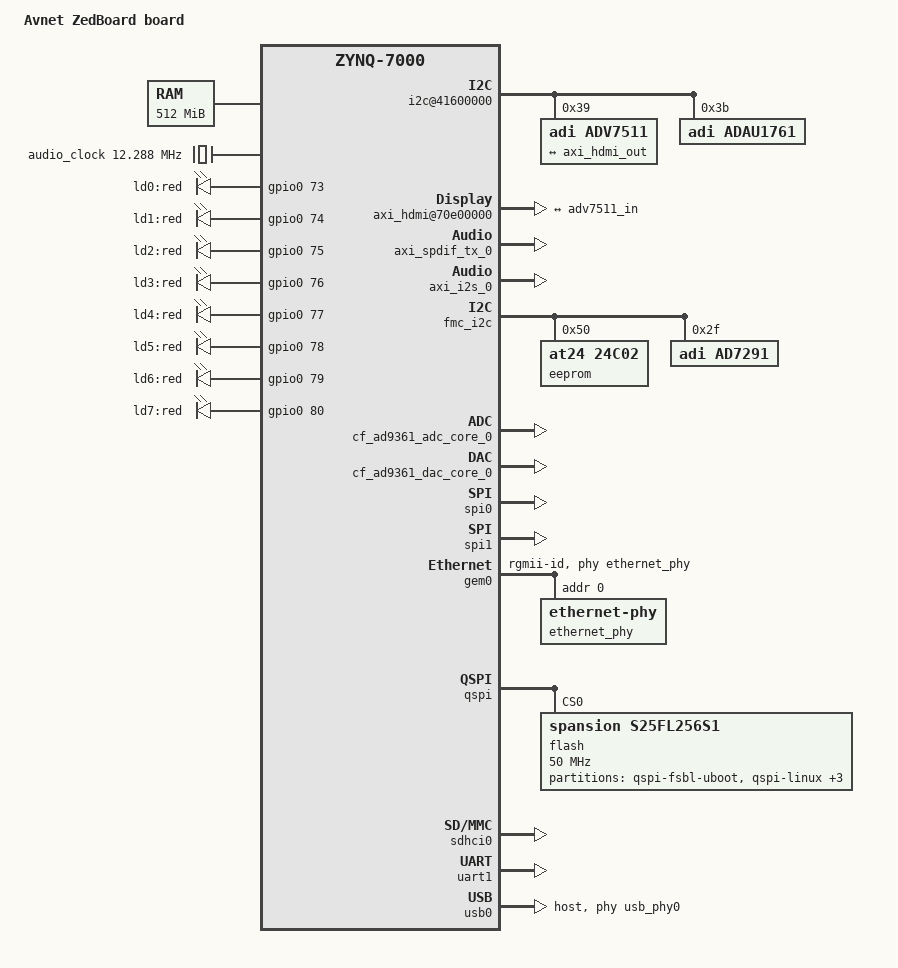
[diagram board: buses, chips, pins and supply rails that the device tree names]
// SPDX-License-Identifier: GPL-2.0+
/*
 *  Copyright (C) 2011 - 2015 Xilinx
 *  Copyright (C) 2012 National Instruments Corp.
 */
/dts-v1/;
#include "zynq-7000.dtsi"
#include "irq.h"

/ {
	model = "Avnet ZedBoard board";
	compatible = "avnet,zynq-zed", "xlnx,zynq-zed", "xlnx,zynq-7000";

	aliases {
		ethernet0 = &gem0;
		serial0 = &uart1;
		spi0 = &qspi;
		mmc0 = &sdhci0;
	};

	memory {
		device_type = "memory";
		reg = <0x0 0x20000000>;
	};

	chosen {
		bootargs = "";
		stdout-path = "serial0:115200n8";
	};

	usb_phy0: phy0@e0002000 {
		compatible = "ulpi-phy";
		#phy-cells = <0>;
		reg = <0xe0002000 0x1000>;
		view-port = <0x0170>;
		drv-vbus;
	};

	// --- 
	fpga-axi@0 {
		compatible = "simple-bus";
		#address-cells = <0x01>;
		#size-cells = <0x01>;
		ranges;
		// -- Verified
		i2c@41600000 {
			compatible = "xlnx,axi-iic-1.01.b\0xlnx,xps-iic-2.00.a";
			reg = <0x41600000 0x10000>;
			interrupt-parent = <&intc>;
			interrupts = <0 58 IRQ_TYPE_LEVEL_HIGH>;
			clocks = <&clkc 15>;
			clock-names = "pclk";

			#size-cells = <0>;
			#address-cells = <1>;
			adv7511: adv7511@39 {
				compatible = "adi,adv7511";
				reg = <0x39>, <0x3f>;
				reg-names = "primary", "edid";

				adi,input-depth = <8>;
				adi,input-colorspace = "yuv422";
				adi,input-clock = "1x";
				adi,input-style = <1>;
				adi,input-justification = "right";
				adi,clock-delay = <0>;

				#sound-dai-cells = <1>;
				ports {
					#address-cells = <1>;
					#size-cells = <0>;

					port@0 {
						reg = <0>;
						adv7511_in: endpoint {
							remote-endpoint = <&axi_hdmi_out>;
						};
					};

					port@1 {
						reg = <1>;
					};
				};
			};

			adau1761: adau1761@3b {
				compatible = "adi,adau1761";
				reg = <0x3b>;

				clocks = <&audio_clock>;
				clock-names = "mclk";

				#sound-dai-cells = <0>;
			};
		};

		// --- Verified
		hdmi_dma: dma@43000000{
			compatible = "adi,axi-dmac-1.00.a";
			reg = <0x43000000 0x1000>;
			#dma-cells = <1>;
			interrupts = <0 59 IRQ_TYPE_LEVEL_HIGH>;
			interrupt-parent = <&intc>;
			clocks = <&clkc 16>;

			adi,channels{
				#size-cells = <0>;
				#address-cells = <1>;

				dma-channel@0 {
					reg = <0>;
					adi,source-bus-width = <64>;
					adi,source-bus-type = <0>;
					adi,destination-bus-width = <64>;
					adi,destination-bus-type = <1>;
				};
			};
		};

		// --- Verified
		hdmi_clock: axi-clkgen@79000000 {
			compatible = "adi,axi-clkgen-2.00.a";
			reg = <0x79000000 0x10000>;
			#clock-cells = <0>;
			clocks = <&clkc 15>, <&clkc 16>;
			clock-names = "s_axi_aclk", "clkin1";
		};

		// --- Verified
		axi_hdmi@70e00000{
			compatible = "adi,axi-hdmi-tx-1.00.a";
			reg = <0x70e00000 0x10000>;
			dmas = <&hdmi_dma 0>;
			dma-names = "video";
			clocks = <&hdmi_clock>;
			port {
				axi_hdmi_out: endpoint {
					remote-endpoint = <&adv7511_in>;
				};
			};
		};
		
		// --- Verified
		axi_spdif_tx_0: axi-spdif-tx@75c00000{
			compatible = "adi,axi-spdif-tx-1.00.a";
			reg = <0x75c00000 0x1000>;
			dmas = <&dmac_s 0>;
			dma-names = "tx";
			clocks = <&clkc 15>, <&audio_clock>;
			clock-names = "axi", "ref";

			#sound-dai-cells = <0>;
		};

		// --- Verified
		axi_i2s_0: axi-i2s@77600000 {
			compatible = "adi,axi-i2s-1.00.a";
			reg = <0x77600000 0x1000>;
			dmas = <&dmac_s 1 &dmac_s 2>;
			dma-names = "tx", "rx";
			clocks = <&clkc 15>, <&audio_clock>;
			clock-names = "axi", "ref";

			#sound-dai-cells = <0>;
		};

		// --- Verified
		axi_sysid_0: axi-sysid-0@45000000 {
			compatible = "adi,axi-sysid-1.00.a";
			reg = <0x45000000 0x10000>;
		};

        // --- Verified
		fmc_i2c: i2c@41620000 {
			compatible = "xlnx,axi-iic-1.01.b\0xlnx,xps-iic-2.00.a";
			reg = <0x41620000 0x10000>;
			interrupt-parent = <&intc>;
			interrupts = <0 55 IRQ_TYPE_LEVEL_HIGH>;
			clocks = <&clkc 15>;
			clock-names = "pclk";
			#size-cells = <0>;
			#address-cells = <1>;

			eeprom@50 {
				compatible = "at24,24c02";
				reg = <0x50>;
			};

			ad7291@2f {
				compatible = "adi,ad7291";
				reg = <0x2f>;
			};
		};

		//--- Verified
		rx_dma: dma@7c400000 {
			compatible = "adi,axi-dmac-1.00.a";
			reg = <0x7c400000 0x1000>;
			#dma-cells = <1>;
			interrupts = <0 57 IRQ_TYPE_LEVEL_HIGH>;
			interrupt-parent = <&intc>;
			clocks = <&clkc 16>;
			

			adi,channels {
				#size-cells = <0>;
				#address-cells = <1>;

				dma-channel@0 {
					reg = <0>;
					adi,source-bus-width = <64>;
					adi,source-bus-type = <2>;
					adi,destination-bus-width = <64>;
					adi,destination-bus-type = <0>;
				};
			};
		};

		//--- Verified
		tx_dma: dma@7c420000 {
			compatible = "adi,axi-dmac-1.00.a";
			reg = <0x7c420000 0x1000>;
			#dma-cells = <1>;
			interrupts = <0 56 IRQ_TYPE_LEVEL_HIGH>;
			interrupt-parent = <&intc>;
			clocks = <&clkc 16>;
			

			adi,channels {
				#size-cells = <0>;
				#address-cells = <1>;

				dma-channel@0 {
					reg = <0>;
					adi,source-bus-width = <64>;
					adi,source-bus-type = <0>;
					adi,destination-bus-width = <64>;
					adi,destination-bus-type = <2>;
				};
			};
		};

		//--- Verified
		cf_ad9361_adc_core_0: cf-ad9361-lpc@79020000 {
			compatible = "adi,axi-ad9361-6.00.a";
			reg = <0x79020000 0x6000>;
			dmas = <&rx_dma 0>;
			dma-names = "rx";
			spibus-connected = <&adc0_ad9361>;
		};

		//--- Verified
		cf_ad9361_dac_core_0: cf-ad9361-dds-core-lpc@79024000 {
			compatible = "adi,axi-ad9361-dds-6.00.a";
			reg = <0x79024000 0x1000>;
			clocks = <&adc0_ad9361 13>;
			clock-names = "sampl_clk";
			dmas = <&tx_dma 0>;
			dma-names = "tx";
		};
	};

	// ---
	adc0_ad9361 {
		en_agc-gpios = <&gpio0 98 0>;
		sync-gpios = <&gpio0 99 0>;
		reset-gpios = <&gpio0 100 0>;
		enable-gpios = <&gpio0 101 0>;
		txnrx-gpios = <&gpio0 102 0>;
	};

	// ---
	spi0 {
		status = "okay";
	};

	spi1 {
		status = "okay";
	};

	lo_pll0_rx_adf4351 {
		gpios = <&gpio0 103 0>;
	};

	lo_pll0_tx_adf4351 {
		gpios = <&gpio0 104 0>;
	};

	audio_clock: audio_clock {
		compatible = "fixed-clock";
		#clock-cells = <0>;
		clock-frequency = <12288000>;
	};

	// --- Verified
	adv7511_hdmi_snd {
		compatible = "simple-audio-card";
		simple-audio-card,name = "HDMI monitor";
		simple-audio-card,widgets =
			"Speaker", "Speaker";
		simple-audio-card,routing =
			"Speaker", "TX";

		simple-audio-card,dai-link@0 {
			format = "spdif";
			cpu {
				sound-dai = <&axi_spdif_tx_0>;
			};
			codec {
				sound-dai = <&adv7511 1>;
			};
		};
	};

	// --- Verified
	zed_sound {
		compatible = "simple-audio-card";
		simple-audio-card,name = "ZED ADAU1761";
		simple-audio-card,widgets =
			"Microphone", "Mic In",
			"Headphone", "Headphone Out",
			"Line", "Line In",
			"Line", "Line Out";
		simple-audio-card,routing =
			"Line Out", "LOUT",
			"Line Out", "ROUT",
			"Headphone Out", "LHP",
			"Headphone Out", "RHP",
			"Mic In", "MICBIAS",
			"LINN", "Mic In",
			"RINN", "Mic In",
			"LAUX", "Line In",
			"RAUX", "Line In";

		simple-audio-card,dai-link@0 {
			format = "i2s";
			cpu {
				sound-dai = <&axi_i2s_0>;
			};
			codec {
				sound-dai = <&adau1761>;
			};
		};
	};

	// --- Verified
	leds {
		compatible = "gpio-leds";
		ld0 {
			label = "ld0:red";
			gpios = <&gpio0 73 0>;
		};

		ld1 {
			label = "ld1:red";
			gpios = <&gpio0 74 0>;
		};

		ld2 {
			label = "ld2:red";
			gpios = <&gpio0 75 0>;
		};

		ld3 {
			label = "ld3:red";
			gpios = <&gpio0 76 0>;
		};

		ld4 {
			label = "ld4:red";
			gpios = <&gpio0 77 0>;
		};

		ld5 {
			label = "ld5:red";
			gpios = <&gpio0 78 0>;
		};

		ld6 {
			label = "ld6:red";
			gpios = <&gpio0 79 0>;
		};

		ld7 {
			label = "ld7:red";
			gpios = <&gpio0 80 0>;
		};
	};
};

&clkc {
	ps-clk-frequency = <33333333>;
};

&gem0 {
	status = "okay";
	phy-mode = "rgmii-id";
	phy-handle = <&ethernet_phy>;

	ethernet_phy: ethernet-phy@0 {
		reg = <0>;
	};
};

&qspi {
	bootph-all;
	status = "okay";
	num-cs = <1>;
	flash@0 {
		compatible = "spansion,s25fl256s1", "jedec,spi-nor";
		reg = <0>;
		spi-tx-bus-width = <1>;
		spi-rx-bus-width = <4>;
		spi-max-frequency = <50000000>;
		m25p,fast-read;
		partitions {
			compatible = "fixed-partitions";
			#address-cells = <1>;
			#size-cells = <1>;
			partition@0 {
				label = "qspi-fsbl-uboot";
				reg = <0x0 0x100000>;
			};
			partition@100000 {
				label = "qspi-linux";
				reg = <0x100000 0x500000>;
			};
			partition@600000 {
				label = "qspi-device-tree";
				reg = <0x600000 0x20000>;
			};
			partition@620000 {
				label = "qspi-rootfs";
				reg = <0x620000 0x5e0000>;
			};
			partition@c00000 {
				label = "qspi-bitstream";
				reg = <0xc00000 0x400000>;
			};
		};
	};
};

&sdhci0 {
	bootph-all;
	status = "okay";
};

&uart1 {
	bootph-all;
	status = "okay";
};

&usb0 {
	status = "okay";
	dr_mode = "host";
	usb-phy = <&usb_phy0>;
};
